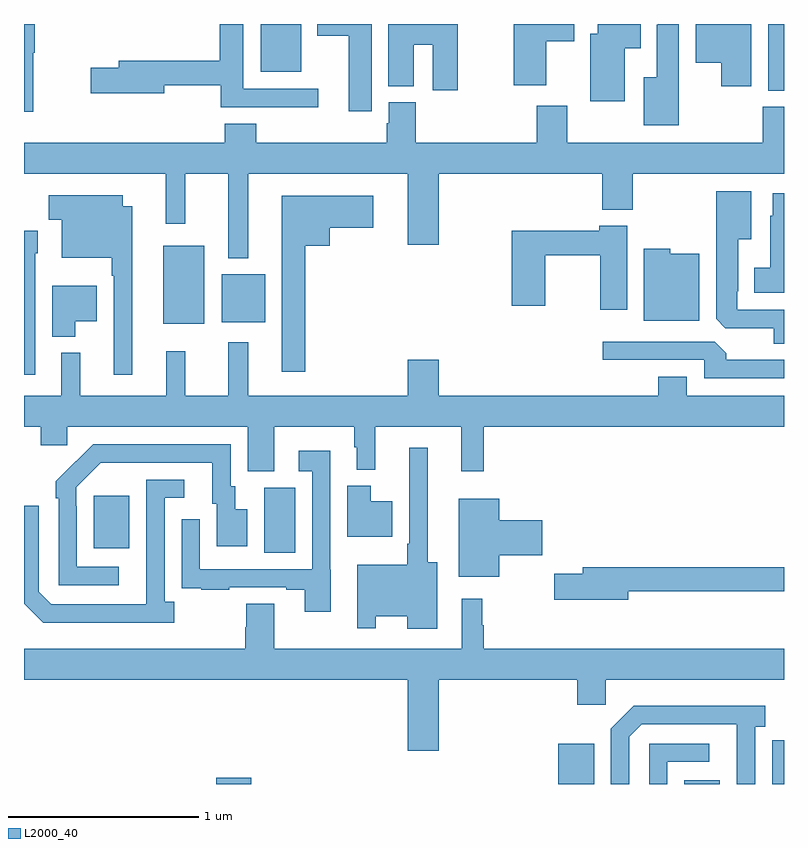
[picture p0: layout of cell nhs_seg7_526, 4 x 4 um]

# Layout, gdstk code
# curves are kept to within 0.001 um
import gdstk
lib = gdstk.Library(unit=1e-6, precision=1e-09)
def R(c, l, rs):  # rectangles x0, y0, x1, y1
    for r in rs: c.add(gdstk.rectangle(r[:2], r[2:], *l))
def P(c, l, *ps):  # polygons
    for p in ps: c.add(gdstk.Polygon(p, *l))
L2000_40 = (2000, 40)

nhs_seg7_526 = lib.new_cell('nhs_seg7_526')
R(nhs_seg7_526, L2000_40, [(152.012,1068,152.195,1068.034), (153.812,1068,154,1068.211), (154.475,1068,154.663,1068.019), (152.264,1069.216,152.428,1069.56), (151.367,1069.241,151.555,1069.516), (151.733,1070.423,151.948,1070.833), (152.042,1070.429,152.269,1070.683), (154.916,1071.65,155,1072), (152.246,1071.749,152.458,1072)])
P(nhs_seg7_526, L2000_40, [(154.828,1072),(154.535,1072),(154.535,1071.797),(154.67,1071.797),(154.67,1071.672),(154.828,1071.672)],
  [(154.447,1072),(154.335,1072),(154.335,1071.995),(154.331,1071.995),(154.331,1071.721),(154.262,1071.721),(154.262,1071.467),(154.447,1071.467)],
  [(154.162,1071.872),(154.246,1071.872),(154.246,1072),(154.019,1072),(154.019,1071.949),(153.98,1071.949),(153.98,1071.593),(154.162,1071.593)],
  [(152.83,1072),(152.543,1072),(152.543,1071.938),(152.708,1071.938),(152.708,1071.54),(152.83,1071.54)],
  [(153.748,1071.91),(153.895,1071.91),(153.895,1072),(153.578,1072),(153.578,1071.677),(153.748,1071.677)],
  [(151.049,1071.849),(151.057,1071.849),(151.057,1072),(151,1072),(151,1071.537),(151.049,1071.537)],
  [(152.548,1071.66),(152.155,1071.66),(152.155,1072),(152.03,1072),(152.03,1071.806),(151.499,1071.806),(151.499,1071.77),(151.35,1071.77),(151.35,1071.635),(151.738,1071.635),(151.738,1071.678),(152.035,1071.678),(152.035,1071.563),(152.548,1071.563)],
  [(153.282,1072),(152.918,1072),(152.918,1071.673),(153.052,1071.673),(153.052,1071.892),(153.152,1071.892),(153.152,1071.651),(153.282,1071.651)],
  [(152.075,1070.768),(152.179,1070.768),(152.179,1071.212),(153.02,1071.212),(153.02,1070.838),(153.184,1070.838),(153.184,1071.212),(154.043,1071.212),(154.043,1071.023),(154.203,1071.023),(154.203,1071.212),(155,1071.212),(155,1071.565),(154.888,1071.565),(154.888,1071.376),(153.858,1071.376),(153.858,1071.571),(153.698,1071.571),(153.698,1071.376),(153.062,1071.376),(153.062,1071.588),(152.921,1071.588),(152.921,1071.477),(152.909,1071.477),(152.909,1071.376),(152.222,1071.376),(152.222,1071.475),(152.057,1071.475),(152.057,1071.376),(151,1071.376),(151,1071.212),(151.747,1071.212),(151.747,1070.949),(151.848,1070.949),(151.848,1071.212),(152.075,1071.212)],
  [(155,1070.496),(154.755,1070.496),(154.755,1070.593),(154.759,1070.593),(154.759,1070.867),(154.828,1070.867),(154.828,1071.121),(154.643,1071.121),(154.643,1070.449),(154.692,1070.4),(154.946,1070.4),(154.946,1070.317),(155,1070.317)],
  [(155,1071.109),(154.94,1071.109),(154.94,1070.991),(154.928,1070.991),(154.928,1070.716),(154.844,1070.716),(154.844,1070.585),(155,1070.585)],
  [(151.57,1071.04),(151.519,1071.04),(151.519,1071.1),(151.131,1071.1),(151.131,1070.971),(151.199,1070.971),(151.199,1070.771),(151.461,1070.771),(151.461,1070.675),(151.473,1070.675),(151.473,1070.154),(151.57,1070.154)],
  [(152.479,1070.834),(152.608,1070.834),(152.608,1070.927),(152.839,1070.927),(152.839,1071.097),(152.357,1071.097),(152.357,1070.169),(152.479,1070.169)],
  [(154.174,1070.938),(154.028,1070.938),(154.028,1070.911),(153.566,1070.911),(153.566,1070.517),(153.744,1070.517),(153.744,1070.782),(154.033,1070.782),(154.033,1070.496),(154.174,1070.496)],
  [(151.059,1070.793),(151.072,1070.793),(151.072,1070.911),(151,1070.911),(151,1070.154),(151.059,1070.154)],
  [(154.555,1070.791),(154.401,1070.791),(154.401,1070.818),(154.262,1070.818),(154.262,1070.438),(154.555,1070.438)],
  [(151.27,1070.435),(151.384,1070.435),(151.384,1070.623),(151.148,1070.623),(151.148,1070.354),(151.27,1070.354)],
  [(155,1070.232),(154.697,1070.232),(154.697,1070.266),(154.635,1070.328),(154.047,1070.328),(154.047,1070.232),(154.581,1070.232),(154.581,1070.136),(155,1070.136)],
  [(152.075,1070.326),(152.075,1070.044),(151.848,1070.044),(151.848,1070.278),(151.748,1070.278),(151.748,1070.044),(151.295,1070.044),(151.295,1070.269),(151.196,1070.269),(151.196,1070.044),(151,1070.044),(151,1069.88),(151.088,1069.88),(151.088,1069.782),(151.227,1069.782),(151.227,1069.88),(152.177,1069.88),(152.177,1069.645),(152.317,1069.645),(152.317,1069.88),(152.739,1069.88),(152.739,1069.773),(152.75,1069.773),(152.75,1069.655),(152.849,1069.655),(152.849,1069.88),(153.302,1069.88),(153.302,1069.647),(153.419,1069.647),(153.419,1069.88),(155,1069.88),(155,1070.044),(154.489,1070.044),(154.489,1070.143),(154.337,1070.143),(154.337,1070.044),(153.184,1070.044),(153.184,1070.233),(153.02,1070.233),(153.02,1070.044),(152.179,1070.044),(152.179,1070.326)],
  [(151.498,1069.143),(151.278,1069.143),(151.278,1069.463),(151.275,1069.463),(151.275,1069.563),(151.404,1069.692),(151.991,1069.692),(151.991,1069.476),(152.015,1069.476),(152.015,1069.251),(152.176,1069.251),(152.176,1069.447),(152.113,1069.447),(152.113,1069.566),(152.088,1069.566),(152.088,1069.788),(151.364,1069.788),(151.167,1069.593),(151.167,1069.505),(151.182,1069.505),(151.182,1069.047),(151.498,1069.047)],
  [(153.175,1069.168),(153.124,1069.168),(153.124,1069.771),(153.027,1069.771),(153.027,1069.264),(153.017,1069.264),(153.017,1069.153),(152.754,1069.153),(152.754,1068.819),(152.851,1068.819),(152.851,1068.884),(153.017,1068.884),(153.017,1068.816),(153.175,1068.816)],
  [(152.614,1069.128),(152.613,1069.128),(152.613,1069.753),(152.445,1069.753),(152.445,1069.647),(152.517,1069.647),(152.517,1069.131),(151.926,1069.131),(151.926,1069.393),(151.83,1069.393),(151.83,1069.138),(151.831,1069.138),(151.831,1069.029),(151.933,1069.029),(151.933,1069.023),(152.081,1069.023),(152.081,1069.035),(152.381,1069.035),(152.381,1069.023),(152.477,1069.023),(152.477,1068.906),(152.614,1068.906)],
  [(151.792,1068.958),(151.74,1068.958),(151.74,1069.506),(151.843,1069.506),(151.843,1069.602),(151.644,1069.602),(151.643,1068.945),(151.143,1068.945),(151.077,1069.011),(151.077,1069.465),(151,1069.465),(151,1068.95),(151.102,1068.848),(151.792,1068.848)],
  [(152.938,1069.489),(152.824,1069.489),(152.824,1069.57),(152.702,1069.57),(152.702,1069.301),(152.938,1069.301)],
  [(153.502,1069.205),(153.727,1069.205),(153.727,1069.388),(153.502,1069.388),(153.502,1069.501),(153.287,1069.501),(153.287,1069.091),(153.502,1069.091)],
  [(154.18,1069.014),(155,1069.014),(155,1069.142),(153.941,1069.142),(153.941,1069.106),(153.792,1069.106),(153.792,1068.971),(154.18,1068.971)],
  [(153.184,1068.548),(153.911,1068.548),(153.911,1068.417),(154.062,1068.417),(154.062,1068.548),(155,1068.548),(155,1068.712),(153.419,1068.712),(153.419,1068.836),(153.412,1068.836),(153.412,1068.976),(153.303,1068.976),(153.303,1068.712),(152.317,1068.712),(152.317,1068.95),(152.17,1068.95),(152.17,1068.825),(152.165,1068.825),(152.165,1068.712),(151,1068.712),(151,1068.548),(153.02,1068.548),(153.02,1068.174),(153.184,1068.174)],
  [(154.185,1068.249),(154.251,1068.315),(154.751,1068.315),(154.752,1068),(154.848,1068),(154.848,1068.302),(154.9,1068.302),(154.9,1068.412),(154.21,1068.412),(154.089,1068.291),(154.089,1068),(154.185,1068)],
  [(155,1068.231),(154.939,1068.231),(154.939,1068.122),(154.938,1068.122),(154.938,1068),(155,1068)],
  [(154.386,1068.117),(154.606,1068.117),(154.606,1068.213),(154.29,1068.213),(154.29,1068),(154.386,1068)])

lib.write_gds('nhs_seg7_526.gds')
